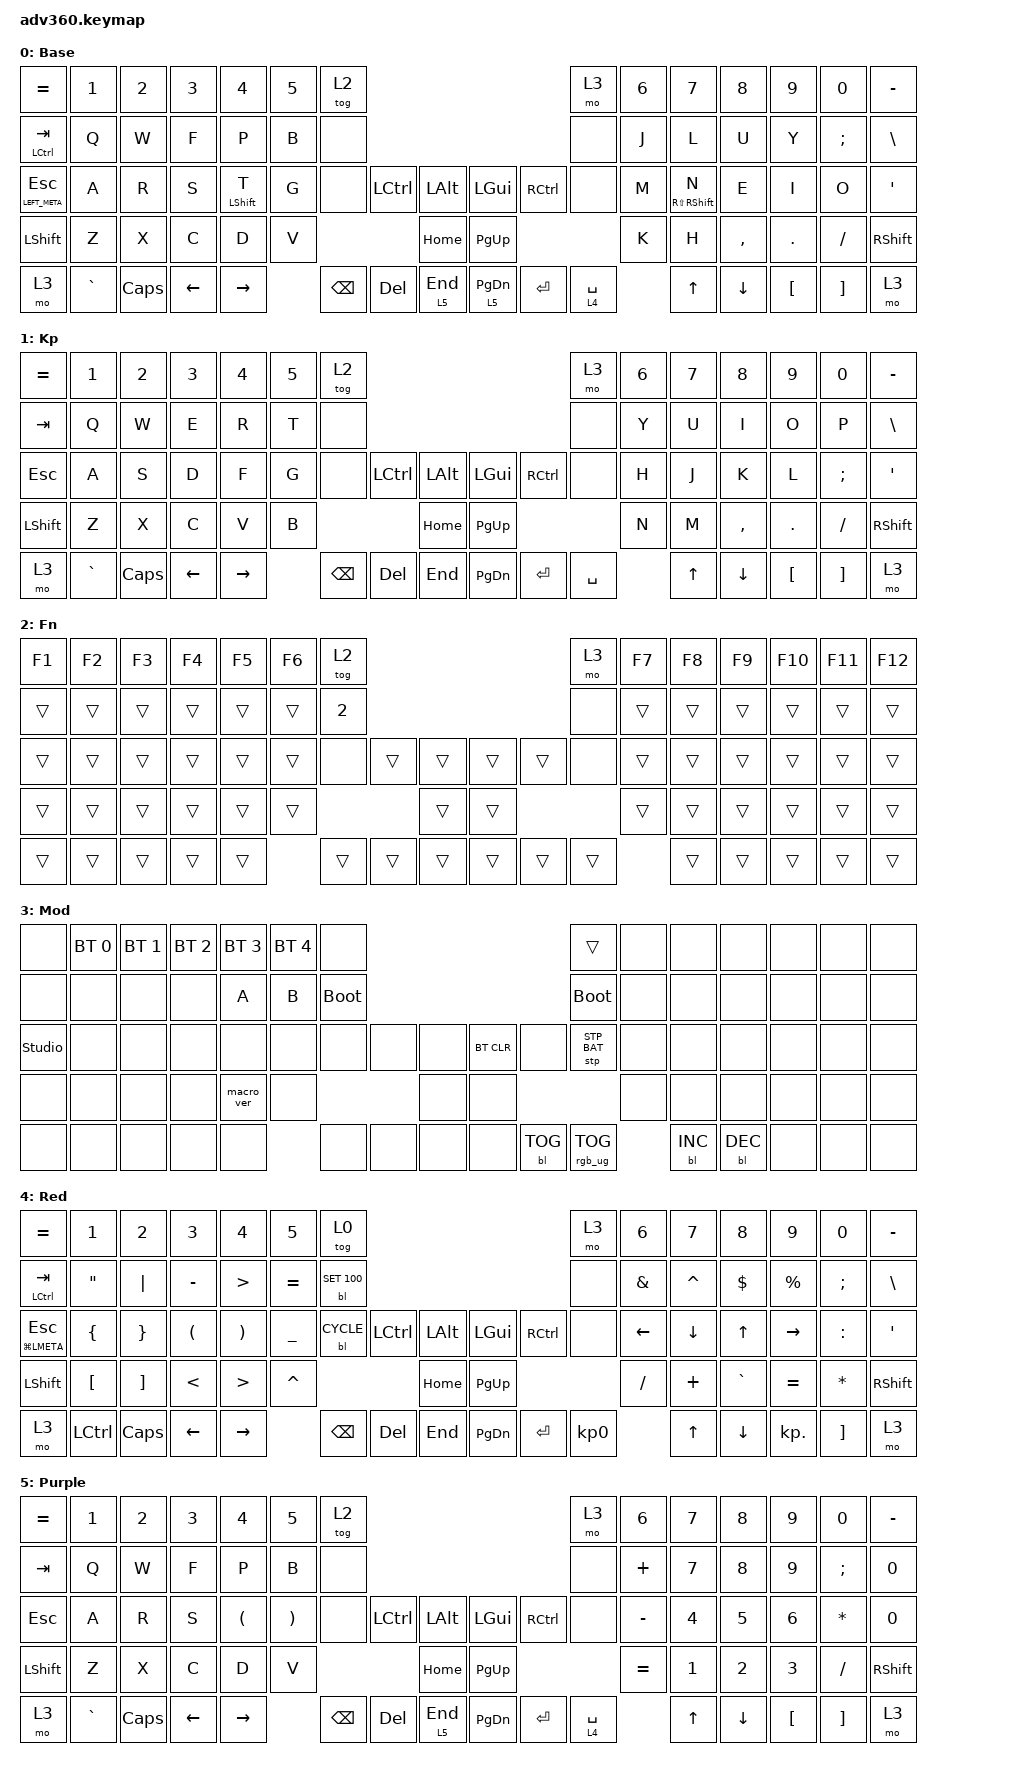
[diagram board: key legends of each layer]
#include <dt-bindings/zmk/stp.h>
#include <behaviors.dtsi>
#include <dt-bindings/zmk/backlight.h>
#include <dt-bindings/zmk/bt.h>
#include <dt-bindings/zmk/keys.h>
#include <dt-bindings/zmk/rgb.h>

/ {
    behaviors {
        #include "macros.dtsi"
      #include "version.dtsi"

        hm: homerow_mods {
            compatible = "zmk,behavior-hold-tap";
            label = "HOMEROW_MODS";
            #binding-cells = <2>;
            tapping-term-ms = <200>;
            quick_tap_ms = <175>;
            flavor = "tap-preferred";
            bindings = <&kp>, <&kp>;
        };
    };

    macros {
        Result: Result {
            compatible = "zmk,behavior-macro";
            #binding-cells = <0>;
            bindings = <&kp SPACE &kp MINUS &kp GT &kp SPACE &kp LS(R) &kp E &kp S &kp U &kp L &kp T &kp LT &kp LPAR &kp RPAR &kp GT &kp SPACE &kp LBRC &kp RET &kp RET &kp LS(O) &kp K &kp LPAR &kp LPAR &kp RPAR &kp RPAR &kp UP_ARROW>;
            label = "RESULT";
        };

        Match: Match {
            compatible = "zmk,behavior-macro";
            #binding-cells = <0>;
            bindings = <&kp SPACE &kp M &kp A &kp T &kp C &kp H &kp SPACE &kp Z &kp Z &kp Z &kp Z &kp Z &kp SPACE &kp LBRC &kp RET &kp Y &kp Y &kp Y &kp Y &kp Y &kp SPACE &kp EQUAL &kp GT &kp SPACE &kp X &kp X &kp X &kp X &kp X &kp COMMA &kp RET &kp UNDER &kp SPACE &kp EQUAL &kp GT &kp SPACE &kp X &kp X &kp X &kp X &kp X &kp COMMA &kp UP_ARROW &kp UP_ARROW &kp RIGHT &kp RIGHT &kp RIGHT &kp RIGHT &kp RIGHT>;
            label = "MATCH";
        };
    };

    keymap {
        compatible = "zmk,keymap";

        default_layer {
            display-name = "Base";
            bindings = <
&kp EQUAL             &kp N1     &kp N2    &kp N3    &kp N4            &kp N5  &tog 2                                                          &mo 3        &kp N6  &kp N7                 &kp N8     &kp N9    &kp N0         &kp MINUS
&hm LEFT_CONTROL TAB  &kp Q      &kp W     &kp F     &kp P             &kp B   &none                                                           &none        &kp J   &kp L                  &kp U      &kp Y     &kp SEMICOLON  &kp BSLH
&hm LEFT_META ESCAPE  &kp A      &kp R     &kp S     &hm LEFT_SHIFT T  &kp G   &none     &kp LCTRL  &kp LALT       &kp LGUI         &kp RCTRL  &none        &kp M   &hm RS(RIGHT_SHIFT) N  &kp E      &kp I     &kp O          &kp SQT
&kp LSHFT             &kp Z      &kp X     &kp C     &kp D             &kp V                        &kp HOME       &kp PG_UP                                &kp K   &kp H                  &kp COMMA  &kp DOT   &kp FSLH       &kp RSHFT
&mo 3                 &kp GRAVE  &kp CAPS  &kp LEFT  &kp RIGHT                 &kp BSPC  &kp DEL    &lt 5 END      &lt 5 PAGE_DOWN  &kp ENTER  &lt 4 SPACE          &kp UP                 &kp DOWN   &kp LBKT  &kp RBKT       &mo 3
            >;
        };

        keypad {
            display-name = "Kp";
            bindings = <
&kp EQUAL  &kp N1     &kp N2    &kp N3    &kp N4     &kp N5  &tog 2                                                   &mo 3      &kp N6  &kp N7  &kp N8     &kp N9    &kp N0    &kp MINUS
&kp TAB    &kp Q      &kp W     &kp E     &kp R      &kp T   &none                                                    &none      &kp Y   &kp U   &kp I      &kp O     &kp P     &kp BSLH
&kp ESC    &kp A      &kp S     &kp D     &kp F      &kp G   &none     &kp LCTRL  &kp LALT      &kp LGUI   &kp RCTRL  &none      &kp H   &kp J   &kp K      &kp L     &kp SEMI  &kp SQT
&kp LSHFT  &kp Z      &kp X     &kp C     &kp V      &kp B                        &kp HOME      &kp PG_UP                        &kp N   &kp M   &kp COMMA  &kp DOT   &kp FSLH  &kp RSHFT
&mo 3      &kp GRAVE  &kp CAPS  &kp LEFT  &kp RIGHT          &kp BSPC  &kp DEL    &kp END       &kp PG_DN  &kp ENTER  &kp SPACE          &kp UP  &kp DOWN   &kp LBKT  &kp RBKT  &mo 3
            >;
        };

        fn {
            display-name = "Fn";
            bindings = <
&kp F1  &kp F2  &kp F3  &kp F4  &kp F5  &kp F6  &tog 2                                            &mo 3   &kp F7  &kp F8  &kp F9  &kp F10  &kp F11  &kp F12
&trans  &trans  &trans  &trans  &trans  &trans  &kp NUMBER_2                                      &none   &trans  &trans  &trans  &trans   &trans   &trans
&trans  &trans  &trans  &trans  &trans  &trans  &none         &trans  &trans      &trans  &trans  &none   &trans  &trans  &trans  &trans   &trans   &trans
&trans  &trans  &trans  &trans  &trans  &trans                        &trans      &trans                  &trans  &trans  &trans  &trans   &trans   &trans
&trans  &trans  &trans  &trans  &trans          &trans        &trans  &trans      &trans  &trans  &trans          &trans  &trans  &trans   &trans   &trans
            >;
        };

        mod {
            display-name = "Mod";
            bindings = <
&none           &bt BT_SEL 0  &bt BT_SEL 1  &bt BT_SEL 2  &bt BT_SEL 3  &bt BT_SEL 4  &none                                                  &trans           &none  &none       &none       &none  &none  &none
&none           &none         &none         &none         &kp A         &kp B         &bootloader                                            &bootloader      &none  &none       &none       &none  &none  &none
&studio_unlock  &none         &none         &none         &none         &none         &none        &none  &none      &bt BT_CLR  &none       &stp STP_BAT     &none  &none       &none       &none  &none  &none
&none           &none         &none         &none         &macro_ver    &none                             &none      &none                                    &none  &none       &none       &none  &none  &none
&none           &none         &none         &none         &none                       &none        &none  &none      &none       &bl BL_TOG  &rgb_ug RGB_TOG         &bl BL_INC  &bl BL_DEC  &none  &none  &none
            >;
        };

        extra1 {
            display-name = "Red";
            bindings = <
&kp EQUAL             &kp N1             &kp N2             &kp N3                &kp N4                 &kp N5          &tog 0                                                         &mo 3      &kp N6          &kp N7          &kp N8        &kp N9       &kp N0         &kp MINUS
&hm LEFT_CONTROL TAB  &kp DOUBLE_QUOTES  &kp PIPE           &kp MINUS             &kp GREATER_THAN       &kp EQUAL       &bl BL_SET 100                                                 &none      &kp AMPERSAND   &kp CARET       &kp DOLLAR    &kp PERCENT  &kp SEMICOLON  &kp BSLH
&hm LG(LMETA) ESCAPE  &kp LEFT_BRACE     &kp RIGHT_BRACE    &kp LEFT_PARENTHESIS  &kp RIGHT_PARENTHESIS  &kp UNDERSCORE  &bl BL_CYCLE    &kp LCTRL  &kp LALT      &kp LGUI   &kp RCTRL  &none      &kp LEFT_ARROW  &kp DOWN_ARROW  &kp UP_ARROW  &kp RIGHT    &kp COLON      &kp SQT
&kp LSHFT             &kp LEFT_BRACKET   &kp RIGHT_BRACKET  &kp LESS_THAN         &kp GREATER_THAN       &kp CARET                                  &kp HOME      &kp PG_UP                        &kp SLASH       &kp PLUS        &kp GRAVE     &kp EQUAL    &kp ASTERISK   &kp RSHFT
&mo 3                 &kp LCTRL          &kp CAPS           &kp LEFT              &kp RIGHT                              &kp BSPC        &kp DEL    &kp END       &kp PG_DN  &kp ENTER  &kp KP_N0                  &kp UP          &kp DOWN      &kp KP_DOT   &kp RBKT       &mo 3
            >;
        };

        extra2 {
            display-name = "Purple";
            bindings = <
&kp EQUAL  &kp N1     &kp N2    &kp N3    &kp N4                &kp N5                 &tog 2                                                        &mo 3        &kp N6     &kp N7        &kp N8        &kp N9        &kp N0         &kp MINUS
&kp TAB    &kp Q      &kp W     &kp F     &kp P                 &kp B                  &none                                                         &none        &kp PLUS   &kp N7        &kp N8        &kp N9        &kp SEMICOLON  &kp N0
&kp ESC    &kp A      &kp R     &kp S     &kp LEFT_PARENTHESIS  &kp RIGHT_PARENTHESIS  &none     &kp LCTRL  &kp LALT       &kp LGUI       &kp RCTRL  &none        &kp MINUS  &kp NUMBER_4  &kp N5        &kp NUMBER_6  &kp ASTERISK   &kp N0
&kp LSHFT  &kp Z      &kp X     &kp C     &kp D                 &kp V                                       &kp HOME       &kp PG_UP                              &kp EQUAL  &kp NUMBER_1  &kp NUMBER_2  &kp NUMBER_3  &kp FSLH       &kp RSHFT
&mo 3      &kp GRAVE  &kp CAPS  &kp LEFT  &kp RIGHT                                    &kp BSPC  &kp DEL    &lt 5 END      &kp PAGE_DOWN  &kp ENTER  &lt 4 SPACE             &kp UP        &kp DOWN      &kp LBKT      &kp RBKT       &mo 3
            >;
        };

        extra3 {
            display-name = "Cyan";
            status = "reserved";
        };

        extra4 {
            display-name = "Yellow";
            status = "reserved";
        };
    };
};
